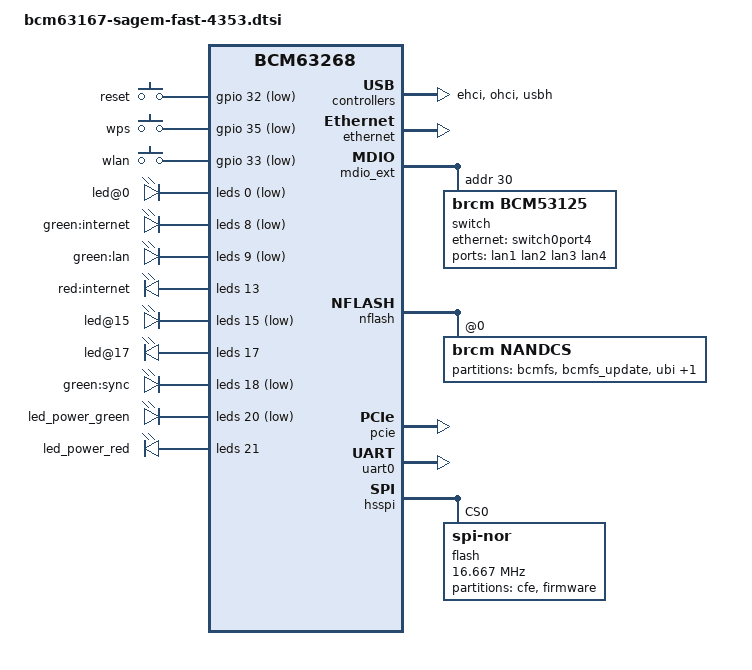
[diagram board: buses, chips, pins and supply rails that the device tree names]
// SPDX-License-Identifier: GPL-2.0-or-later

#include "bcm63268.dtsi"

/ {
	aliases {
		led-boot = &led_power_green;
		led-failsafe = &led_power_red;
		led-running = &led_power_green;
		led-upgrade = &led_power_green;

		led-dsl = &led_dsl_green;
		led-internet = &led_internet_green;
	};

	keys {
		compatible = "gpio-keys-polled";
		poll-interval = <100>;

		reset {
			label = "reset";
			gpios = <&gpio 32 GPIO_ACTIVE_LOW>;
			linux,code = <KEY_RESTART>;
			debounce-interval = <60>;
		};

		wps {
			label = "wps";
			gpios = <&gpio 35 GPIO_ACTIVE_LOW>;
			linux,code = <KEY_WPS_BUTTON>;
			debounce-interval = <60>;
		};

		wlan {
			label = "wlan";
			gpios = <&gpio 33 GPIO_ACTIVE_LOW>;
			linux,code = <KEY_WLAN>;
			debounce-interval = <60>;
		};
	};
};

&ehci {
	status = "okay";
};

&ethernet {
	status = "okay";

	nvmem-cells = <&macaddr_cferom_6a0>;
	nvmem-cell-names = "mac-address";
};

&leds {
	status = "okay";

	pinctrl-names = "default";
	pinctrl-0 = <&pinctrl_leds>;

	led@0 {
		reg = <0>;
		function = LED_FUNCTION_WAN;
		color = <LED_COLOR_ID_AMBER>;
		active-low;
	};

	led_internet_green: led@8 {
		reg = <8>;
		label = "green:internet";
		active-low;
	};

	led@9 {
		reg = <9>;
		label = "green:lan";
		active-low;
	};

	wan_green@12 {
		/* GPHY0 Act */
		reg = <12>;
		brcm,hardware-controlled;
	};

	led@13 {
		reg = <13>;
		label = "red:internet";
	};

	led@15 {
		reg = <15>;
		function = LED_FUNCTION_WPS;
		color = <LED_COLOR_ID_GREEN>;
		active-low;
	};

	led@17 {
		reg = <17>;
		function = LED_FUNCTION_WLAN;
		color = <LED_COLOR_ID_GREEN>;
	};

	led_dsl_green: led@18 {
		reg = <18>;
		label = "green:sync";
		active-low;
	};

	led_power_green: led@20 {
		reg = <20>;
		function = LED_FUNCTION_POWER;
		color = <LED_COLOR_ID_GREEN>;
		active-low;
	};

	led_power_red: led@21 {
		reg = <21>;
		function = LED_FUNCTION_POWER;
		color = <LED_COLOR_ID_RED>;
		panic-indicator;
	};
};

&pinctrl {
	pinctrl_leds: leds {
		function = "led";
		pins = "gpio0",  "gpio8",  "gpio9", "gpio12",
		       "gpio13", "gpio15", "gpio17", "gpio18",
		       "gpio20", "gpio21";
	};
};

&mdio_ext {
	switch@1e {
		compatible = "brcm,bcm53125";
		reg = <0x1e>;

		dsa,member = <1 0>;

		ports {
			#address-cells = <1>;
			#size-cells = <0>;

			port@0 {
				reg = <0>;
				label = "lan1";
			};

			port@1 {
				reg = <1>;
				label = "lan2";
			};

			port@2 {
				reg = <2>;
				label = "lan3";
			};

			port@3 {
				reg = <3>;
				label = "lan4";
			};

			port@8 {
				reg = <8>;

				phy-mode = "rgmii";
				ethernet = <&switch0port4>;

				fixed-link {
					speed = <1000>;
					full-duplex;
					asym-pause;
					pause;
				};
			};
		};
	};
};

&nflash {
	status = "okay";

	nandcs@0 {
		compatible = "brcm,nandcs";
		reg = <0>;
		nand-ecc-step-size = <512>;
		nand-ecc-strength = <4>;
		nand-on-flash-bbt;
		brcm,nand-oob-sector-size = <64>;

		partitions {
			compatible = "fixed-partitions";
			#address-cells = <1>;
			#size-cells = <1>;

			nand_bcmfs:partition@0 {
				label = "bcmfs";
				reg = <0x00000000 0x00020000>;
				read-only;

				nvmem-layout {
					compatible = "fixed-layout";
					#address-cells = <1>;
					#size-cells = <1>;

					macaddr_cferom_6a0: macaddr@6a0 {
						reg = <0x6a0 0x6>;
					};
				};
			};

			nand_bcmfs_update:partition@20000 {
				label = "bcmfs_update";
				reg = <0x00020000 0x000a0000>;
				read-only;
			};

			nand_ubi:partition@c0000 {
				label = "ubi";
				reg = <0x000c0000 0x0fa40000>;
				read-only;
			};

			nand_data:partition@fb00000 {
				label = "stock_data";
				reg = <0x0fb00000 0x0400000>;
				read-only;
			};
		};
	};
};

&ohci {
	status = "okay";
};

&pcie {
	status = "okay";
};

&switch0 {
	dsa,member = <0 0>;

	ports {
		port@3 {
			reg = <3>;
			label = "wan";

			phy-handle = <&phy4>;
		};

		switch0port4: port@4 {
			reg = <4>;
			label = "extsw";

			phy-mode = "rgmii";

			fixed-link {
				speed = <1000>;
				full-duplex;
			};
		};
	};
};

&uart0 {
	status = "okay";
};

&usbh {
	status = "okay";
};

&hsspi {
	status = "okay";

	flash@0 {
		compatible = "jedec,spi-nor";
		spi-max-frequency = <16666667>;
		spi-tx-bus-width = <2>;
		spi-rx-bus-width = <2>;
		reg = <0>;

		#address-cells = <1>;
		#size-cells = <1>;

		partitions {
			compatible = "fixed-partitions";
			#address-cells = <1>;
			#size-cells = <1>;

			partition@0 {
				label = "cfe";
				reg = <0x000000 0x030000>;
			};

			partition@30000 {
				compatible = "brcm,bcm963xx-imagetag";
				label = "firmware";
				reg = <0x030000 0xfd0000>;
			};
		};
	};
};
